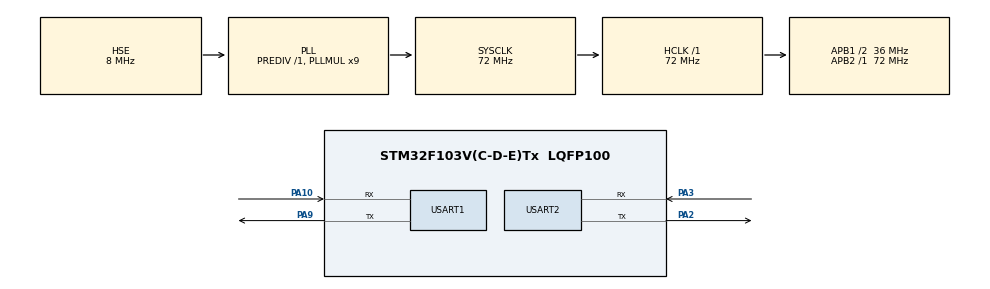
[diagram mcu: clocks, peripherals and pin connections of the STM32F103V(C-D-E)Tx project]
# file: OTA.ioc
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Mcu.Family=STM32F1
RCC.PLLSourceVirtual=RCC_PLLSOURCE_HSE
PC15-OSC32_OUT.Mode=LSE-External-Oscillator
NVIC.DMA1_Channel5_IRQn=true\:0\:0\:false\:false\:true\:false\:true
Dma.USART1_RX.0.PeriphDataAlignment=DMA_PDATAALIGN_BYTE
PA10.Mode=Asynchronous
RCC.APB1CLKDivider=RCC_HCLK_DIV2
PC14-OSC32_IN.Signal=RCC_OSC32_IN
NVIC.USART2_IRQn=true\:0\:0\:false\:false\:true\:true\:true
RCC.SYSCLKSource=RCC_SYSCLKSOURCE_PLLCLK
ProjectManager.StackSize=0x400
PA13.Signal=SYS_JTMS-SWDIO
PA3.Mode=Asynchronous
PA9.Mode=Asynchronous
ProjectManager.TargetToolchain=MDK-ARM V5
Dma.USART1_RX.0.Direction=DMA_PERIPH_TO_MEMORY
RCC.HCLKFreq_Value=72000000
RCC.APB2TimFreq_Value=72000000
PA9.Signal=USART1_TX
OSC_IN.Signal=RCC_OSC_IN
RCC.USBFreq_Value=72000000
OSC_OUT.Mode=HSE-External-Oscillator
PC15-OSC32_OUT.Signal=RCC_OSC32_OUT
OSC_OUT.Signal=RCC_OSC_OUT
RCC.AHBFreq_Value=72000000
Dma.USART1_RX.0.PeriphInc=DMA_PINC_DISABLE
Dma.USART1_RX.0.Priority=DMA_PRIORITY_LOW
PB3.Mode=JTAG_5_pins
board=custom
PA15.Mode=JTAG_5_pins
RCC.PLLMUL=RCC_PLL_MUL9
RCC.APB2Freq_Value=72000000
PB4.Mode=JTAG_5_pins
PC14-OSC32_IN.Mode=LSE-External-Oscillator
PA14.Mode=JTAG_5_pins
Dma.USART1_RX.0.MemDataAlignment=DMA_MDATAALIGN_BYTE
Dma.USART1_RX.0.MemInc=DMA_MINC_ENABLE
PA13.Mode=JTAG_5_pins
Mcu.Name=STM32F103V(C-D-E)Tx
PA2.Signal=USART2_TX
PB3.Signal=SYS_JTDO-TRACESWO
RCC.SYSCLKFreq_VALUE=72000000
Mcu.Package=LQFP100
OSC_IN.Mode=HSE-External-Oscillator
USART2.VirtualMode=VM_ASYNC
USART1.VirtualMode=VM_ASYNC
PA10.Signal=USART1_RX
PA14.Signal=SYS_JTCK-SWCLK
PA15.Signal=SYS_JTDI
ProjectManager.HeapSize=0x200
NVIC.PriorityGroup=NVIC_PRIORITYGROUP_4
RCC.APB1TimFreq_Value=72000000
PA2.Mode=Asynchronous
Dma.USART1_RX.0.Mode=DMA_NORMAL
NVIC.USART1_IRQn=true\:0\:0\:false\:false\:true\:true\:true
Dma.Request0=USART1_RX
RCC.APB1Freq_Value=36000000
Dma.USART1_RX.0.Instance=DMA1_Channel5
PB4.Signal=SYS_NJTRST
PA3.Signal=USART2_RX

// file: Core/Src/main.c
/* USER CODE BEGIN Header */
/**
  ******************************************************************************
  * @file           : main.c
  * @brief          : Main program body
  ******************************************************************************
  ** This notice applies to any and all portions of this file
  * that are not between comment pairs USER CODE BEGIN and
  * USER CODE END. Other portions of this file, whether
  * inserted by the user or by software development tools
  * are owned by their respective copyright owners.
  *
  * COPYRIGHT(c) 2021 STMicroelectronics
  *
  * Redistribution and use in source and binary forms, with or without modification,
  * are permitted provided that the following conditions are met:
  *   1. Redistributions of source code must retain the above copyright notice,
  *      this list of conditions and the following disclaimer.
  *   2. Redistributions in binary form must reproduce the above copyright notice,
  *      this list of conditions and the following disclaimer in the documentation
  *      and/or other materials provided with the distribution.
  *   3. Neither the name of STMicroelectronics nor the names of its contributors
  *      may be used to endorse or promote products derived from this software
  *      without specific prior written permission.
  *
  * THIS SOFTWARE IS PROVIDED BY THE COPYRIGHT HOLDERS AND CONTRIBUTORS "AS IS"
  * AND ANY EXPRESS OR IMPLIED WARRANTIES, INCLUDING, BUT NOT LIMITED TO, THE
  * IMPLIED WARRANTIES OF MERCHANTABILITY AND FITNESS FOR A PARTICULAR PURPOSE ARE
  * DISCLAIMED. IN NO EVENT SHALL THE COPYRIGHT HOLDER OR CONTRIBUTORS BE LIABLE
  * FOR ANY DIRECT, INDIRECT, INCIDENTAL, SPECIAL, EXEMPLARY, OR CONSEQUENTIAL
  * DAMAGES (INCLUDING, BUT NOT LIMITED TO, PROCUREMENT OF SUBSTITUTE GOODS OR
  * SERVICES; LOSS OF USE, DATA, OR PROFITS; OR BUSINESS INTERRUPTION) HOWEVER
  * CAUSED AND ON ANY THEORY OF LIABILITY, WHETHER IN CONTRACT, STRICT LIABILITY,
  * OR TORT (INCLUDING NEGLIGENCE OR OTHERWISE) ARISING IN ANY WAY OUT OF THE USE
  * OF THIS SOFTWARE, EVEN IF ADVISED OF THE POSSIBILITY OF SUCH DAMAGE.
  *
  ******************************************************************************
  */
/* USER CODE END Header */

#include "main.h"
#include "dma.h"
#include "usart.h"
#include "gpio.h"

/* USER CODE BEGIN PTD */

PUTCHAR_PROTOTYPE
{
    //具体哪个串口可以更改huart1为其它串口
    HAL_UART_Transmit(&huart2, (uint8_t *)&ch, 1 , 0xffff);
    return ch;
}

/* USER CODE END PTD */

void SystemClock_Config(void);

/* USER CODE BEGIN 0 */

//uint8_t recBuffer[1];

uint8_t		Rx_Flag = 0;
uint16_t		Rx_Len = 0;
uint8_t		Rx_Buf[Rx_Max] = {0};

uint8_t version=0x01;
uint32_t fileSize=0;
uint8_t describe[64];
_Bool update=0;//是否愿意更新
_Bool updating=0;//是否正在更新

uint8_t sendBuffer[300];
updatePacket sendPacket;

/* USER CODE END 0 */

int main(void)
{
  /* USER CODE BEGIN 1 */
	sendPacket.head[0]=0xFE;
	sendPacket.head[1]=0xFE;
	sendPacket.head[2]=0x55;
	sendPacket.version=version;
	sendPacket.commend=0x00;//默认无命令
	sendPacket.dataLen[0]=0x00;
	sendPacket.dataLen[1]=0x00;
	for(int i=0;i<256;i++)
	{
		sendPacket.data[i]=0x00;
	}
	sendPacket.hCrc=0x00;
	sendPacket.lCrc=0x00;
	sendPacket.tail[0]=0xE5;
	sendPacket.tail[1]=0xE5;
	sendPacket.tail[2]=0x55;

  /* USER CODE END 1 */

  /* MCU Configuration--------------------------------------------------------*/

  /* Reset of all peripherals, Initializes the Flash interface and the Systick. */
  HAL_Init();

  /* Configure the system clock */
  SystemClock_Config();

  /* Initialize all configured peripherals */
  MX_GPIO_Init();
  MX_DMA_Init();
  MX_USART1_UART_Init();
  MX_USART2_UART_Init();
  /* USER CODE BEGIN 2 */
	//HAL_UART_Receive_IT(&huart1,recBuffer,sizeof(recBuffer));
	HAL_UART_Receive_DMA(&huart1,Rx_Buf,Rx_Max);
	__HAL_UART_ENABLE_IT(&huart1, UART_IT_IDLE);
  /* USER CODE END 2 */

  /* Infinite loop */
  /* USER CODE BEGIN WHILE */
	//printf("V0.0.1\r\n");
  while (1)
  {
		/*这一段测试idel不定长接收中断
		if(Rx_Flag ==1)
		{
			printf("rx_len=%d\r\n",Rx_Len);
			HAL_UART_Transmit(&huart1,Rx_Buf, Rx_Len,200);
			for(uint8_t i=0;i<Rx_Len;i++)
			{
				Rx_Buf[i]=0;
			}
			Rx_Len=0;
			Rx_Flag=0;
		}*/

    /* USER CODE END WHILE */

    /* USER CODE BEGIN 3 */

		ymodem_fun();

  }
  /* USER CODE END 3 */
}

void SystemClock_Config(void)
{
  RCC_OscInitTypeDef RCC_OscInitStruct = {0};
  RCC_ClkInitTypeDef RCC_ClkInitStruct = {0};

  /**Initializes the CPU, AHB and APB busses clocks
  */
  RCC_OscInitStruct.OscillatorType = RCC_OSCILLATORTYPE_HSE;
  RCC_OscInitStruct.HSEState = RCC_HSE_ON;
  RCC_OscInitStruct.HSEPredivValue = RCC_HSE_PREDIV_DIV1;
  RCC_OscInitStruct.HSIState = RCC_HSI_ON;
  RCC_OscInitStruct.PLL.PLLState = RCC_PLL_ON;
  RCC_OscInitStruct.PLL.PLLSource = RCC_PLLSOURCE_HSE;
  RCC_OscInitStruct.PLL.PLLMUL = RCC_PLL_MUL9;
  if (HAL_RCC_OscConfig(&RCC_OscInitStruct) != HAL_OK)
  {
    Error_Handler();
  }
  /**Initializes the CPU, AHB and APB busses clocks
  */
  RCC_ClkInitStruct.ClockType = RCC_CLOCKTYPE_HCLK|RCC_CLOCKTYPE_SYSCLK
                              |RCC_CLOCKTYPE_PCLK1|RCC_CLOCKTYPE_PCLK2;
  RCC_ClkInitStruct.SYSCLKSource = RCC_SYSCLKSOURCE_PLLCLK;
  RCC_ClkInitStruct.AHBCLKDivider = RCC_SYSCLK_DIV1;
  RCC_ClkInitStruct.APB1CLKDivider = RCC_HCLK_DIV2;
  RCC_ClkInitStruct.APB2CLKDivider = RCC_HCLK_DIV1;

  if (HAL_RCC_ClockConfig(&RCC_ClkInitStruct, FLASH_LATENCY_2) != HAL_OK)
  {
    Error_Handler();
  }
}

/* USER CODE BEGIN 4 */
void HAL_UART_RxCpltCallback(UART_HandleTypeDef *huart)
{
/*
	if(huart==&huart1)
	{
		//uint8_t res[]={'1','2','3','\n'};
		//HAL_UART_Transmit(&huart1,res,sizeof(res),0xffff);
		HAL_UART_Receive_IT(&huart1,recBuffer,sizeof(recBuffer));
	}*/
}
/* USER CODE END 4 */

void Error_Handler(void)
{
  /* USER CODE BEGIN Error_Handler_Debug */
  /* User can add his own implementation to report the HAL error return state */
	__disable_irq();//屏蔽中断
  while (1)
  {
  }
  /* USER CODE END Error_Handler_Debug */
}

/************************ (C) COPYRIGHT STMicroelectronics *****END OF FILE****/
